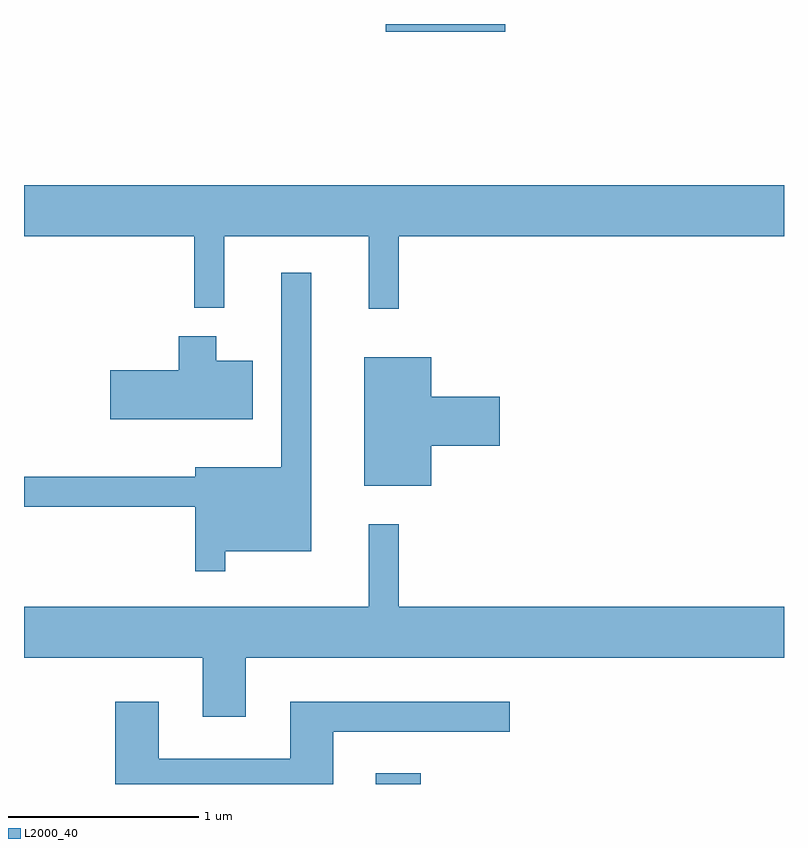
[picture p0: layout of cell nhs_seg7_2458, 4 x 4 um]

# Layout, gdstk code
import gdstk
lib = gdstk.Library(unit=1e-6, precision=1e-09)
def R(c, l, rs):  # rectangles x0, y0, x1, y1
    for r in rs: c.add(gdstk.rectangle(r[:2], r[2:], *l))
def P(c, l, *ps):  # polygons
    for p in ps: c.add(gdstk.Polygon(p, *l))
L2000_40 = (2000, 40)

nhs_seg7_2458 = lib.new_cell('nhs_seg7_2458')
R(nhs_seg7_2458, L2000_40, [(261.462,1780.252,261.699,1780.309), (261.516,1784.211,262.144,1784.252)])
P(nhs_seg7_2458, L2000_40, [(261.584,1783.136),(263.611,1783.136),(263.611,1783.404),(259.611,1783.404),(259.611,1783.136),(260.506,1783.136),(260.506,1782.758),(260.664,1782.758),(260.664,1783.136),(261.426,1783.136),(261.426,1782.753),(261.584,1782.753)],
  [(260.669,1781.476),(261.124,1781.476),(261.124,1782.943),(260.966,1782.943),(260.966,1781.919),(260.511,1781.919),(260.511,1781.869),(259.611,1781.869),(259.611,1781.711),(260.511,1781.711),(260.511,1781.373),(260.669,1781.373)],
  [(260.814,1782.479),(260.624,1782.479),(260.624,1782.609),(260.426,1782.609),(260.426,1782.429),(260.066,1782.429),(260.066,1782.171),(260.814,1782.171)],
  [(261.754,1782.031),(262.114,1782.031),(262.114,1782.289),(261.754,1782.289),(261.754,1782.499),(261.401,1782.499),(261.401,1781.821),(261.754,1781.821)],
  [(260.779,1780.916),(263.611,1780.916),(263.611,1781.184),(261.584,1781.184),(261.584,1781.618),(261.426,1781.618),(261.426,1781.184),(259.611,1781.184),(259.611,1780.916),(260.551,1780.916),(260.551,1780.606),(260.779,1780.606)],
  [(261.239,1780.526),(262.168,1780.526),(262.168,1780.684),(261.011,1780.684),(261.011,1780.384),(260.319,1780.384),(260.319,1780.684),(260.091,1780.684),(260.091,1780.252),(261.239,1780.252)])

lib.write_gds('nhs_seg7_2458.gds')
